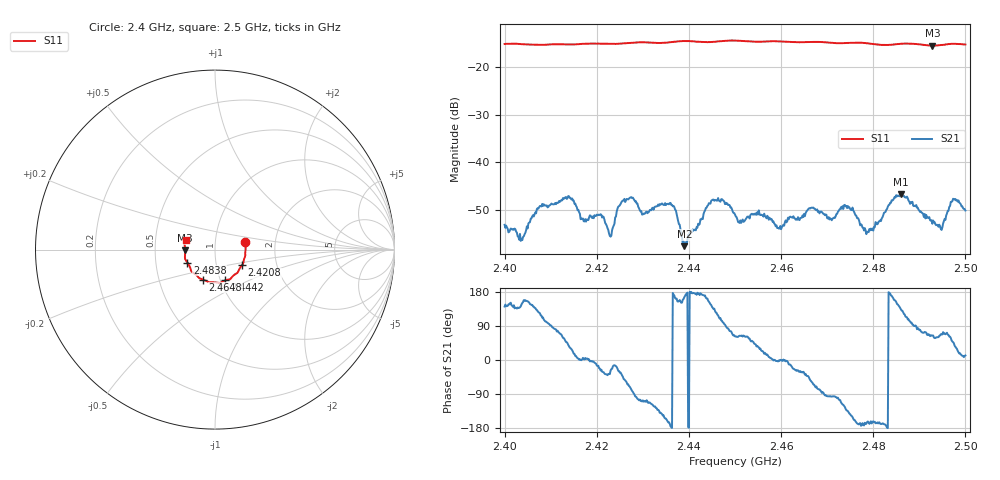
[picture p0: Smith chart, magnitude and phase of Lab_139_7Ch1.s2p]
# Hz S RI R 50
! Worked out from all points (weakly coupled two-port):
!   601 points, 2.4 GHz to 2.5 GHz, reference 50 ohm
!   highest |S21| = -46.65 dB at 2.486 GHz (marker M1); lowest = -57.5 dB at 2.439 GHz (marker M2)
!   lowest |S11| = -15.6 dB at 2.4928 GHz (marker M3), VSWR 1.40, Z = 35.8 - j0.348 ohm
!   |S11| at or under -10 dB: start of sweep to end of sweep
!   S12 and S22 are empty: the file has one direction only
!   S11 on the Smith chart (normalised r, x): 2.4 GHz: 1.40, +0.12; 2.4208 GHz: 1.33, -0.24; 2.4442 GHz: 1.05, -0.37; 2.4648 GHz: 0.83, -0.29; 2.4838 GHz: 0.73, -0.11; 2.5 GHz: 0.72, +0.08
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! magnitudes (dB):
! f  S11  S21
! 2.4 GHz  -15.3  -53.0
! 2.4037 GHz  -15.3  -55.9
! 2.4077 GHz  -15.4  -49.1
! 2.4135 GHz  -15.4  -47.6
! 2.4167 GHz  -15.2  -51.7
! 2.4208 GHz  -15.2  -50.8
! 2.423 GHz  -15.2  -55.5
! 2.426 GHz  -15.1  -47.6
! 2.4333 GHz  -15.0  -48.8
! 2.4367 GHz  -14.8  -49.1
! 2.439 GHz  -14.6  -57.5
! 2.4442 GHz  -14.9  -48.9
! 2.45 GHz  -14.5  -50.9
! 2.4648 GHz  -14.9  -51.4
! 2.4667 GHz  -14.8  -49.4
! 2.4743 GHz  -15.0  -49.5
! 2.4788 GHz  -15.1  -54.5
! 2.4833 GHz  -15.5  -48.9
! 2.4838 GHz  -15.4  -48.4
! 2.486 GHz  -15.2  -46.7
! 2.4928 GHz  -15.6  -52.8
! 2.5 GHz  -15.4  -50.0
